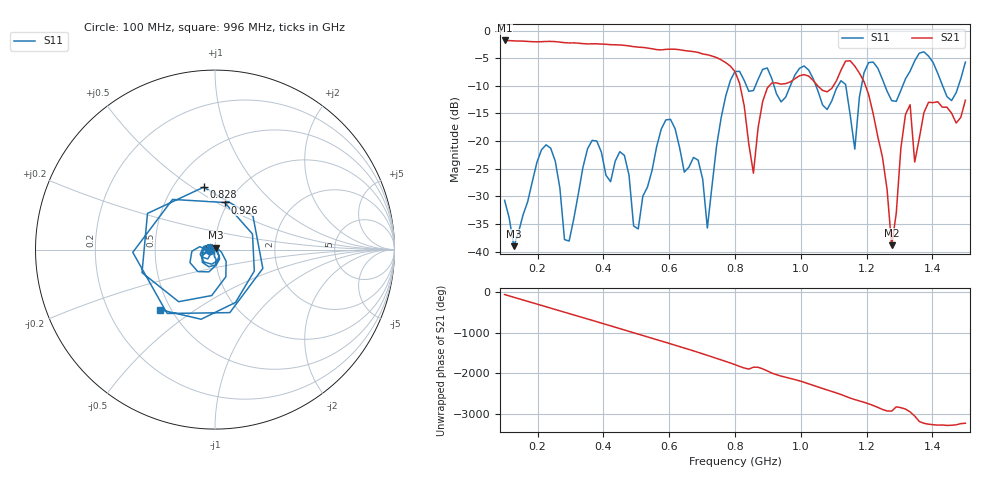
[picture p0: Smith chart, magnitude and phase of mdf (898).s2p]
! NanoVNA-App
! Date: 2025-09-25 15:45:24
! Start: 100MHz Stop: 1,5GHz Points: 101
! S-Parameter data: F S11 S21 S12 S22
# Hz S RI R 50
!  Frequency  S11_Real  S11_Imag  S21_Real  S21_Imag  S12_Real  S12_Imag  S22_Real  S22_Imag
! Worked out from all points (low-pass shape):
!   101 points, 100 MHz to 1.5 GHz, reference 50 ohm
!   highest |S21| = -1.80 dB at 100 MHz (marker M1); lowest = -38.9 dB at 1.276 GHz (marker M2)
!   |S21| within 3 dB of the highest: start of sweep to 739.3 MHz
!   lowest |S11| = -39.0 dB at 128 MHz (marker M3), VSWR 1.02, Z = 50.3 + j1.08 ohm
!   |S11| at or under -10 dB: start of sweep to 781.1 MHz; 918.6 MHz to 968.1 MHz (49.51 MHz wide, 5.25 % of centre); 1.046 GHz to 1.113 GHz (66.95 MHz wide, 6.2 % of centre) (the widest 3 of 7)
!   S12 and S22 are empty: the file has one direction only
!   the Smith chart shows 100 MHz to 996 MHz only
!   S11 on the Smith chart (normalised r, x): 100 MHz: 0.94, -0.01; 828 MHz: 0.70, +0.56; 926 MHz: 0.96, +0.54; 996 MHz: 0.43, -0.37
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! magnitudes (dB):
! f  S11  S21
! 100 MHz  -30.7  -1.8
! 128 MHz  -39.0  -1.9
! 212 MHz  -21.6  -2.0
! 282 MHz  -37.8  -2.2
! 338 MHz  -24.7  -2.4
! 464 MHz  -22.6  -2.7
! 506 MHz  -35.9  -3.0
! 576 MHz  -17.8  -3.5
! 716 MHz  -35.7  -4.4
! 800 MHz  -7.4  -7.4
! 828 MHz  -9.0  -13.6
! 856 MHz  -10.9  -25.8
! 926 MHz  -11.4  -9.5
! 996 MHz  -6.8  -8.2
! 1.038 GHz  -8.8  -9.1
! 1.136 GHz  -9.8  -5.5
! 1.164 GHz  -21.5  -6.4
! 1.192 GHz  -7.6  -9.2
! 1.276 GHz  -12.7  -38.9
! 1.332 GHz  -7.4  -13.4
! 1.346 GHz  -5.5  -23.8
! 1.5 GHz  -5.7  -12.6
